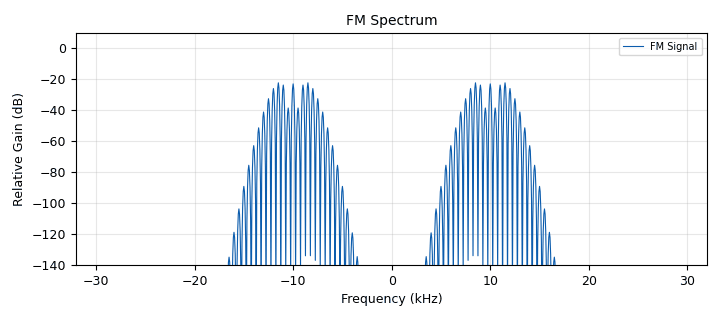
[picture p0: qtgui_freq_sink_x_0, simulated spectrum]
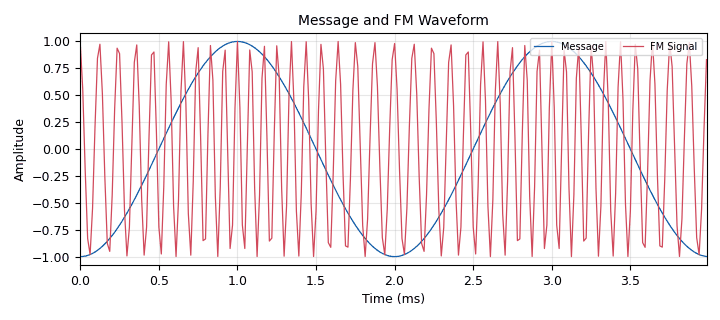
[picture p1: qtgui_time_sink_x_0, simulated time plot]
options:
  parameters:
    author: Dhrubjun
    generate_options: qt_gui
    id: exp1
    output_language: python
    title: Frequency Modulation
  states: {}

blocks:
- name: fc
  id: variable
  parameters:
    value: '10000'
  states: {}
- name: fm
  id: variable
  parameters:
    value: '500'
  states: {}
- name: freq_dev
  id: variable_qtgui_range
  parameters:
    label: Frequency Deviation (Hz)
    start: '0'
    step: '250'
    stop: '5000'
    value: '2000'
  states: {}
- name: samp_rate
  id: variable
  parameters:
    value: '64000'
  states: {}
- name: analog_sig_source_x_0
  id: analog_sig_source_x
  parameters:
    amp: '1'
    freq: fm
    offset: '0'
    phase: '0'
    samp_rate: samp_rate
    type: float
    waveform: analog.GR_COS_WAVE
  states: {}
- name: blocks_add_const_vxx_0
  id: blocks_add_const_vxx
  parameters:
    const: fc
    type: float
  states: {}
- name: blocks_multiply_const_vxx_0
  id: blocks_multiply_const_vxx
  parameters:
    const: freq_dev
    type: float
  states: {}
- name: blocks_throttle2_0
  id: blocks_throttle2
  parameters:
    samples_per_second: samp_rate
    type: float
  states: {}
- name: blocks_vco_f_0
  id: blocks_vco_f
  parameters:
    amplitude: '1'
    samp_rate: samp_rate
    sensitivity: 2*pi
  states: {}
- name: import_0
  id: import
  parameters:
    imports: from math import pi
  states: {}
- name: qtgui_freq_sink_x_0
  id: qtgui_freq_sink_x
  parameters:
    bw: samp_rate
    fc: '0'
    fftsize: '1024'
    label1: FM Signal
    name: FM Spectrum
    type: float
  states: {}
- name: qtgui_time_sink_x_0
  id: qtgui_time_sink_x
  parameters:
    label1: Message
    label2: FM Signal
    name: Message and FM Waveform
    nconnections: '2'
    size: '256'
    srate: samp_rate
    type: float
  states: {}

connections:
- [analog_sig_source_x_0, '0', blocks_multiply_const_vxx_0, '0']
- [analog_sig_source_x_0, '0', qtgui_time_sink_x_0, '0']
- [blocks_add_const_vxx_0, '0', blocks_vco_f_0, '0']
- [blocks_multiply_const_vxx_0, '0', blocks_add_const_vxx_0, '0']
- [blocks_throttle2_0, '0', qtgui_freq_sink_x_0, '0']
- [blocks_throttle2_0, '0', qtgui_time_sink_x_0, '1']
- [blocks_vco_f_0, '0', blocks_throttle2_0, '0']

metadata:
  file_format: 1
  grc_version: 3.10.12.0
